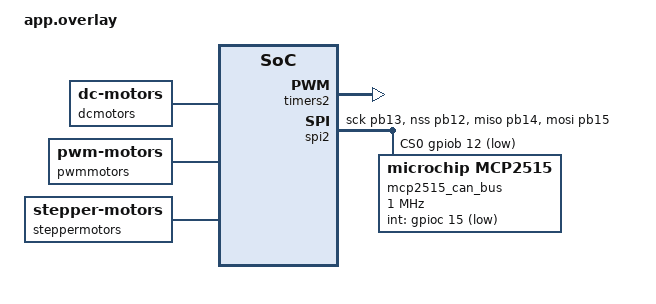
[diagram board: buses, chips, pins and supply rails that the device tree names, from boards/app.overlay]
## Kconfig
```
mainmenu "Controller Area Network sample application"

config LOOPBACK_MODE
	bool "Loopback LOOPBACK_MODE"
	default n
	help
	  Set the controller to loopback mode.
	  This allows testing without a second board.

source "Kconfig.zephyr"
```

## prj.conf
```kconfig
CONFIG_SENSOR=y
CONFIG_PWM=y
CONFIG_GPIO=y
CONFIG_CAN=y

CONFIG_CAN_INIT_PRIORITY=80
CONFIG_CAN_MAX_FILTER=5

CONFIG_LOOPBACK_MODE=n

CONFIG_CANARD=y
CONFIG_KYVERNITIS=y
CONFIG_LOG=y
```

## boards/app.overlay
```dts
/ {
	dcmotors {
		compatible = "dc-motors";
		dc_motor: motor {
			label = "DC motor";
			gpios = <&gpiob 7 GPIO_ACTIVE_HIGH>,
				<&gpioa 15 GPIO_ACTIVE_HIGH>;
		};
	};

	pwmmotors {
		compatible = "pwm-motors";
		pwm_motor_1: pwm_1 {
			pwms = <&pwm2 3 PWM_MSEC(20) (PWM_POLARITY_NORMAL)>;
			min-pulse = <PWM_USEC(1120)>;
			max-pulse = <PWM_USEC(1920)>;
		};

		pwm_motor_2: pwm_2 {
			pwms = <&pwm2 2 PWM_MSEC(20) (PWM_POLARITY_NORMAL)>;
			min-pulse = <PWM_USEC(1120)>;
			max-pulse = <PWM_USEC(1920)>;
		};

		pwm_servo_1: pwm_3 {
			pwms = <&pwm2 1 PWM_MSEC(20) (PWM_POLARITY_NORMAL)>;
			min-pulse = <PWM_USEC(600)>;
			max-pulse = <PWM_USEC(2400)>;
		};

	};

	steppermotors {
		compatible = "stepper-motors";
		stepper_motor_1: motor_1 {
			label = "Stepper Motor 1";
			dir-gpios = <&gpioa 2 GPIO_ACTIVE_HIGH>;
			step-gpios = <&gpioa 3 GPIO_ACTIVE_HIGH>;
		};

		stepper_motor_2: motor_2 {
			label = "Stepper Motor 2";
			dir-gpios = <&gpiob 8 GPIO_ACTIVE_HIGH>;
			step-gpios = <&gpiob 9 GPIO_ACTIVE_HIGH>;
		};
	};

	aliases {
		pwm-motor1 = &pwm_motor_1;
		pwm-motor2 = &pwm_motor_2;
		pwm-servo1 = &pwm_servo_1;
		stepper-motor1 = &stepper_motor_1;
		stepper-motor2 = &stepper_motor_2;
		dc-motor = &dc_motor;
	};

	chosen {
		zephyr,canbus = &mcp2515_can_bus;
	};
};


&timers2 {
	status = "okay";
	st,prescaler = <1679>;

	pwm2: pwm {
		status = "okay";
		pinctrl-0 = <&tim2_ch3_pb10 &tim2_ch2_pa1 &tim2_ch1_pa0>;
		pinctrl-names = "default";
	};
};


&spi2 {
	pinctrl-0 = <&spi2_sck_pb13 &spi2_nss_pb12
		&spi2_miso_pb14 &spi2_mosi_pb15>;
	pinctrl-names = "default";
	status = "okay";
	
	cs-gpios = <&gpiob 12 GPIO_ACTIVE_LOW>;	
	mcp2515_can_bus: can@0 {
		compatible = "microchip,mcp2515";
		spi-max-frequency = <1000000>;
		int-gpios = <&gpioc 15 GPIO_ACTIVE_LOW>; /* c15 */
		status = "okay";
		reg = <0x0>;
		osc-freq = <8000000>;
		bus-speed = <800000>;
		sjw = <1>;
		sample-point = <875>;

		can-transceiver {
			max-bitrate = <1000000>;
		};
	};
};
```

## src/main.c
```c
/*
 * Source file for Gripper Arm Application
 */


#include <zephyr/device.h>
#include <zephyr/devicetree.h>
#include <zephyr/drivers/gpio.h>
#include <zephyr/drivers/pwm.h>
#include <zephyr/drivers/can.h>
#include <zephyr/kernel.h>
#include <zephyr/logging/log.h>
#include <app_version.h>

#include <kycan.h>
#include <kyvernitis.h>

#define ROBOCLAWS_COUNT 2
#define STEPPER_MOTOR_COUNT 2

LOG_MODULE_REGISTER(main, CONFIG_LOG_DEFAULT_LEVEL);
CAN_MSGQ_DEFINE(rx_msgq, 25);

/* Testing tx_thread macros */
#ifdef CONFIG_LOOPBACK_MODE

#define TX_THREAD_STACK_SIZE 512
#define TX_THREAD_PRIORITY 2

K_THREAD_STACK_DEFINE(tx_thread_stack, TX_THREAD_STACK_SIZE);

#endif

/* DT spec for can module*/
const struct device *const can_dev = DEVICE_DT_GET(DT_CHOSEN(zephyr_canbus));

/* DT spec for led*/
static const struct gpio_dt_spec led = GPIO_DT_SPEC_GET(DT_ALIAS(led0), gpios);

/* DT spec for roboclaws*/
struct pwm_motor roboclaw[ROBOCLAWS_COUNT] = {
	{
		.dev_spec = PWM_DT_SPEC_GET(DT_ALIAS(pwm_motor1)),
		.min_pulse = DT_PROP(DT_ALIAS(pwm_motor1), min_pulse),
		.max_pulse = DT_PROP(DT_ALIAS(pwm_motor1), max_pulse)
	},
	{
		.dev_spec = PWM_DT_SPEC_GET(DT_ALIAS(pwm_motor2)),
		.min_pulse = DT_PROP(DT_ALIAS(pwm_motor2), min_pulse),
		.max_pulse = DT_PROP(DT_ALIAS(pwm_motor2), max_pulse)
	}
};

/* DT spec for servo */
struct pwm_motor servo = {
	.dev_spec = PWM_DT_SPEC_GET(DT_ALIAS(pwm_servo1)),
	.min_pulse = DT_PROP(DT_ALIAS(pwm_servo1), min_pulse),
	.max_pulse = DT_PROP(DT_ALIAS(pwm_servo1), max_pulse)
};

servo_state_t servo_state = SERVO_DEFAULT_STATE;

/* DT spec for stepper motors */
struct stepper_motor tb6600[STEPPER_MOTOR_COUNT] = {
	{
		.dir = GPIO_DT_SPEC_GET(DT_ALIAS(stepper_motor1), dir_gpios),
		.step = GPIO_DT_SPEC_GET(DT_ALIAS(stepper_motor1), step_gpios)
	},
	{
		.dir = GPIO_DT_SPEC_GET(DT_ALIAS(stepper_motor2), dir_gpios),
		.step = GPIO_DT_SPEC_GET(DT_ALIAS(stepper_motor2), step_gpios)
	}
};

/* DT spec for dc motor */
const struct dc_motor bts = {
	.input_1 = GPIO_DT_SPEC_GET_BY_IDX(DT_ALIAS(dc_motor), gpios, 0),
	.input_2 = GPIO_DT_SPEC_GET_BY_IDX(DT_ALIAS(dc_motor), gpios, 1)
};

/* Can filter for Gripper-Arm */
const struct can_filter gripper_arm_filter = {
	.flags = CAN_FILTER_DATA | CAN_FILTER_IDE,
	.id = GRIPPER_ARM_ID,
	.mask = CAN_EXT_ID_MASK
};

struct can_frame gripper_arm_rx_frame;


/* Testing tx_thread */
#ifdef CONFIG_LOOPBACK_MODE
	
struct can_frame gripper_arm_tx_frame = {
	.flags = CAN_FRAME_IDE,
	.id = GRIPPER_ARM_ID,
	.dlc = 6,
	.data[4] = ACTUATOR_COMMAND_ID,
};

struct k_thread tx_thread_data;

void tx_thread(void *unused1, void *unused2, void *unused3)
{
	while (1) {
		k_sleep(K_SECONDS(1));
		gripper_arm_tx_frame.data_32[0] = 0;
		gripper_arm_tx_frame.data[5] = 10;
		can_send(can_dev, &gripper_arm_tx_frame, K_MSEC(100), NULL, NULL);
	}
	
	return;
}

#endif

int main()
{
	printk("\nGripper-Arm: v%s\n\n", APP_VERSION_STRING);

	int err;
	ARG_UNUSED(err);

	/* Device ready checks */

	if (!device_is_ready(can_dev)) {
		LOG_ERR("CAN: Device %s not ready.\n", can_dev->name);
		return 0;
	}

	if (!gpio_is_ready_dt(&led)){
		LOG_ERR("Error: Led not ready\n");
		return 0;
	}

	// check for pwm motor readiness
	for (size_t i = 0U; i < ARRAY_SIZE(roboclaw); i++) {
		if (!pwm_is_ready_dt(&(roboclaw[i].dev_spec))) {
			LOG_ERR("PWM: Roboclaw %s is not ready\n", roboclaw[i].dev_spec.dev->name);
			return 0;
		}
	}

	if (!pwm_is_ready_dt(&(servo.dev_spec))) {
		LOG_ERR("PWM: Servo is not ready\n");
		return 0;
	}

	if (!gpio_is_ready_dt(&(bts.input_1))) {
		LOG_ERR("DC-motor: input %d is not ready\n",
						bts.input_1.pin);
		return 0;
	}
	if (!gpio_is_ready_dt(&(bts.input_2))) {
		LOG_ERR("DC-motor: input %d is not ready\n",
						bts.input_2.pin);
		return 0;
	}
	
	for (size_t i = 0U; i < ARRAY_SIZE(tb6600); i++) {
		if (!gpio_is_ready_dt(&(tb6600[i].dir))) {
			LOG_ERR("Stepper Motor %d: Dir %d is not ready\n", i,
							tb6600[i].dir.pin);
			return 0;
		}
		if (!gpio_is_ready_dt(&(tb6600[i].step))) {
			LOG_ERR("Stepper Motor %d: Step %d is not ready\n", i,
							tb6600[i].step.pin);
			return 0;
		}
	}

	/* Start up configurations */
	if (gpio_pin_configure_dt(&(bts.input_1), GPIO_OUTPUT_INACTIVE)) {
		LOG_ERR("Error : DC motor not configured\n");
		return 0;
	}
	if (gpio_pin_configure_dt(&(bts.input_2), GPIO_OUTPUT_INACTIVE)) {
		LOG_ERR("Error : DC motor not configured\n");
		return 0;
	}

	for (size_t i = 0U; i < ARRAY_SIZE(tb6600); i++) {
		if(gpio_pin_configure_dt(&(tb6600[i].dir), GPIO_OUTPUT_INACTIVE)) {
			LOG_ERR("Error: Stepper motor %d: Dir %d not configured", i,
							tb6600[i].dir.pin);
			return 0;
		}
		if(gpio_pin_configure_dt(&(tb6600[i].step), GPIO_OUTPUT_INACTIVE)) {
			LOG_ERR("Error: Stepper motor %d: Dir %d not configured", i,
							tb6600[i].step.pin);
			return 0;
		}	
	}

#ifdef CONFIG_LOOPBACK_MODE

	k_tid_t tx_tid;

	if (can_set_mode(can_dev, CAN_MODE_LOOPBACK)) {
		LOG_ERR("Error setting CAN mode");
		return 0;
	}
	
	tx_tid = k_thread_create(&tx_thread_data, tx_thread_stack,
				 K_THREAD_STACK_SIZEOF(tx_thread_stack),
				 tx_thread, NULL, NULL, NULL,
				 TX_THREAD_PRIORITY, 0, K_NO_WAIT);

	if (!tx_tid) {
		LOG_ERR("ERROR spawning tx thread\n");
	}

#endif

	if (can_start(can_dev)) {
		LOG_ERR("Error starting CAN controller.\n");
		return 0;
	}
	
	
	int filter_id = can_add_rx_filter_msgq(can_dev, &rx_msgq, &gripper_arm_filter);
	if (filter_id < 0) {
		LOG_ERR("Unable to add rx msgq [%d]", filter_id);
		return 0;
	}

	if (gpio_pin_configure_dt(&led, GPIO_OUTPUT_ACTIVE) < 0)
	{
		LOG_ERR("Error: Led not configured\n");
		return 0;
	}	
	
	while (true)
	{
#ifndef CONFIG_LOOPBACK_MODE
		if(k_msgq_get(&rx_msgq, &gripper_arm_rx_frame,  K_MSEC(1000))) {
#else
		if(k_msgq_get(&rx_msgq, &gripper_arm_rx_frame, K_FOREVER)) {
#endif
			LOG_ERR("Message Recieve Timeout!!");
			// send stop command to roboclaw motors
			for(size_t i = 0U; i < ARRAY_SIZE(roboclaw); i++) {
				if(pwm_motor_write(&roboclaw[i], PWM_MOTOR_STOP)) {
					LOG_ERR("Unable to write pwm pulse to Roboclaw: %d", i + ROBOCLAW_BASE_ID);
					return 0;
				}
			}
			LOG_INF("Stopped all Roboclaw motors");

			if(pwm_motor_write(&servo, servo_state)) {
				LOG_ERR("Unable to write pwm pulse to servo");
				return 0;
			}
			LOG_INF("Set all servo motors to previous state");
			
			if(dc_motor_write(&bts, DC_MOTOR_STOP)) {
				return 0;
			}
			LOG_INF("Stopped dc motors");
			continue;
		}
				
		struct can_frame frame = gripper_arm_rx_frame;

		printk("CAN frame ID: %x  Data: %d %d %d\n", frame.id, frame.data_32[0], frame.data[4], frame.data[5]);

		if(frame.dlc != 6) {
			//just handling motor commands for now
			LOG_ERR("Unknown Frame Received\n");
			continue;
		}

		switch (frame.data[4]) {
		
		case ACTUATOR_COMMAND_ID:
			if (frame.data[5] < ROBOCLAW_BASE_ID + ROBOCLAWS_COUNT) {
				// in the case it will only consider from 10 - 11
				if (pwm_motor_write(&roboclaw[frame.data[5] - ROBOCLAW_BASE_ID], frame.data_32[0])) {
					LOG_ERR("Unable to write pwm pulse to PWM motor: %d", frame.data[5]);
					return 0;
				}
			}
			else if (frame.data[5] == 17) {
				// it will consider from 17
				if(pwm_motor_write(&servo, servo_state)) {
					LOG_ERR("Unable to write pwm pulse to Servo Motor: %d", frame.data[5]);
					return 0;
				}
				else {
					servo_state = frame.data_32[0];
				}
			}
			else if (frame.data[5] < STEPPER_BASE_ID + STEPPER_MOTOR_COUNT) {
				if(stepper_motor_write(&tb6600[frame.data[5] - STEPPER_BASE_ID], frame.data_32[0])) {
					LOG_ERR("Unable to write motor command to Stepper: %d", frame.data[5]);
					return 0;
				}
			}
			else if (frame.data[5] == 27) {
				if(dc_motor_write(&bts, frame.data_32[0])) {
					LOG_ERR("Unable to write motor command to DC motor");
					return 0;
				}
			}
			break;
		}
		gpio_pin_toggle_dt(&led);
	}
	return 0;
}
```
